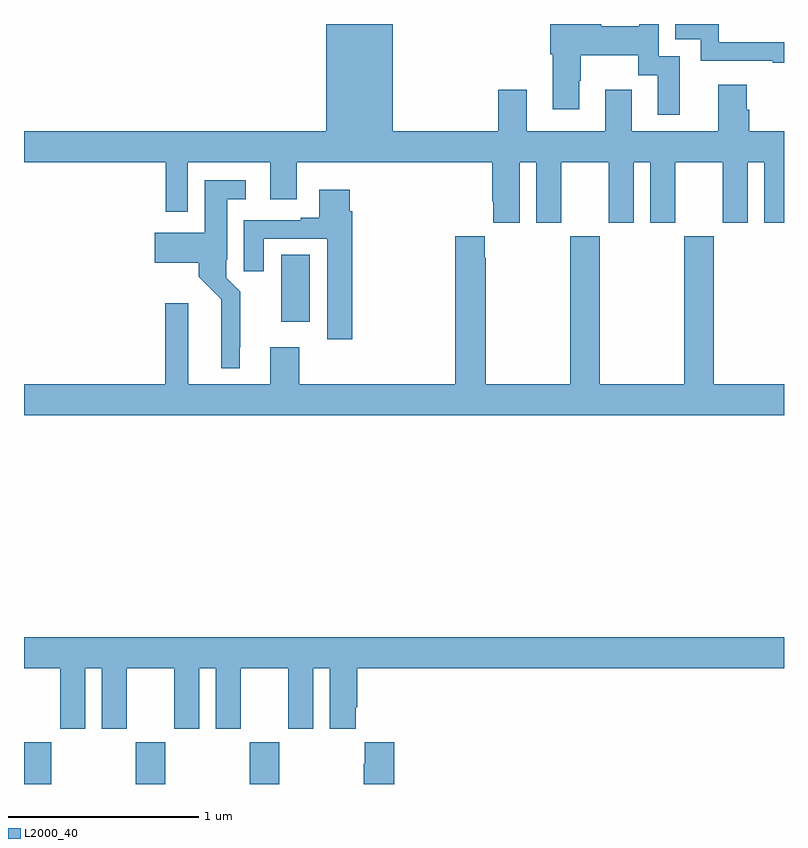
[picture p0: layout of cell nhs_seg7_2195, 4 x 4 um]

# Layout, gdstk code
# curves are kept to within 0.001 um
import gdstk
lib = gdstk.Library(unit=1e-6, precision=1e-09)
def R(c, l, rs):  # rectangles x0, y0, x1, y1
    for r in rs: c.add(gdstk.rectangle(r[:2], r[2:], *l))
def P(c, l, *ps):  # polygons
    for p in ps: c.add(gdstk.Polygon(p, *l))
L2000_40 = (2000, 40)

nhs_seg7_2195 = lib.new_cell('nhs_seg7_2195')
R(nhs_seg7_2195, L2000_40, [(255,1008,255.144,1008.22), (255.589,1008,255.744,1008.22), (256.189,1008,256.344,1008.22), (256.355,1010.433,256.504,1010.786)])
P(nhs_seg7_2195, L2000_40, [(258.451,1011.831),(258.342,1011.831),(258.342,1012),(258.239,1012),(258.239,1011.988),(258.037,1011.988),(258.037,1012),(257.771,1012),(257.771,1011.84),(257.783,1011.84),(257.783,1011.552),(257.923,1011.552),(257.923,1011.702),(257.931,1011.702),(257.931,1011.836),(258.234,1011.836),(258.234,1011.73),(258.335,1011.73),(258.335,1011.522),(258.451,1011.522)],
  [(259,1011.903),(258.657,1011.903),(258.657,1012),(258.427,1012),(258.427,1011.921),(258.561,1011.921),(258.561,1011.807),(258.941,1011.807),(258.941,1011.795),(259,1011.795)],
  [(257.608,1011.272),(257.696,1011.272),(257.696,1010.955),(257.827,1010.955),(257.827,1011.272),(258.077,1011.272),(258.077,1010.955),(258.208,1010.955),(258.208,1011.272),(258.296,1011.272),(258.296,1010.955),(258.427,1010.955),(258.427,1011.272),(258.677,1011.272),(258.677,1010.955),(258.808,1010.955),(258.808,1011.272),(258.896,1011.272),(258.896,1010.955),(259,1010.955),(259,1011.436),(258.818,1011.436),(258.818,1011.549),(258.805,1011.549),(258.805,1011.679),(258.653,1011.679),(258.653,1011.436),(258.199,1011.436),(258.199,1011.655),(258.059,1011.655),(258.059,1011.436),(257.647,1011.436),(257.647,1011.655),(257.495,1011.655),(257.495,1011.436),(256.942,1011.436),(256.942,1012),(256.592,1012),(256.592,1011.436),(255,1011.436),(255,1011.272),(255.745,1011.272),(255.745,1011.012),(255.861,1011.012),(255.861,1011.272),(256.295,1011.272),(256.295,1011.078),(256.435,1011.078),(256.435,1011.272),(257.465,1011.272),(257.465,1011.067),(257.471,1011.067),(257.471,1010.955),(257.608,1010.955)],
  [(256.135,1010.299),(256.139,1010.299),(256.139,1010.59),(256.065,1010.664),(256.065,1010.758),(256.069,1010.758),(256.069,1011.077),(256.168,1011.077),(256.168,1011.178),(255.95,1011.178),(255.95,1010.902),(255.687,1010.902),(255.687,1010.744),(255.92,1010.744),(255.92,1010.67),(256.038,1010.552),(256.037,1010.189),(256.135,1010.189)],
  [(256.727,1011.014),(256.714,1011.014),(256.714,1011.127),(256.553,1011.127),(256.553,1010.98),(256.457,1010.98),(256.457,1010.967),(256.157,1010.967),(256.157,1010.7),(256.261,1010.7),(256.261,1010.871),(256.595,1010.871),(256.595,1010.34),(256.727,1010.34)],
  [(259,1010.104),(258.63,1010.104),(258.63,1010.884),(258.475,1010.884),(258.475,1010.104),(258.029,1010.104),(258.029,1010.884),(257.875,1010.884),(257.875,1010.104),(257.43,1010.104),(257.43,1010.771),(257.425,1010.771),(257.425,1010.884),(257.27,1010.884),(257.27,1010.104),(256.448,1010.104),(256.448,1010.299),(256.295,1010.299),(256.295,1010.104),(255.865,1010.104),(255.865,1010.53),(255.743,1010.53),(255.743,1010.104),(255,1010.104),(255,1009.94),(259,1009.94)],
  [(255,1008.608),(255.191,1008.608),(255.191,1008.291),(255.322,1008.291),(255.322,1008.608),(255.41,1008.608),(255.41,1008.291),(255.541,1008.291),(255.541,1008.608),(255.791,1008.608),(255.791,1008.291),(255.922,1008.291),(255.922,1008.608),(256.01,1008.608),(256.01,1008.291),(256.141,1008.291),(256.141,1008.608),(256.391,1008.608),(256.391,1008.291),(256.522,1008.291),(256.522,1008.608),(256.61,1008.608),(256.61,1008.291),(256.747,1008.291),(256.747,1008.403),(256.754,1008.403),(256.754,1008.608),(259,1008.608),(259,1008.772),(255,1008.772)],
  [(256.949,1008.22),(256.793,1008.22),(256.793,1008.107),(256.789,1008.107),(256.789,1008),(256.949,1008)])

lib.write_gds('nhs_seg7_2195.gds')
